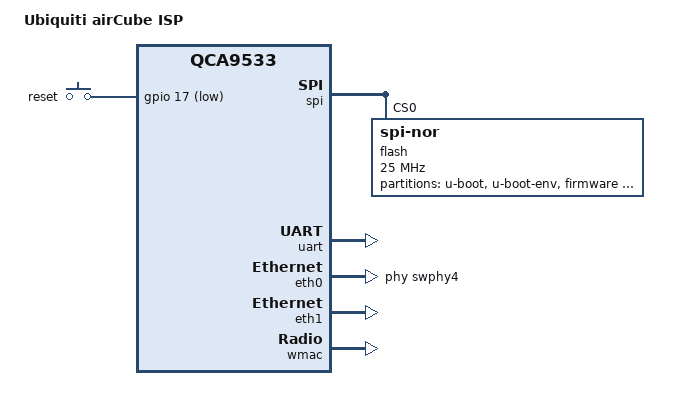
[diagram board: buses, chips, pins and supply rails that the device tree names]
// SPDX-License-Identifier: GPL-2.0-or-later OR MIT
/dts-v1/;

#include <dt-bindings/gpio/gpio.h>
#include <dt-bindings/input/input.h>

#include "qca953x.dtsi"

/ {
	compatible = "ubnt,acb-isp", "qca,qca9533";
	model = "Ubiquiti airCube ISP";

	keys {
		compatible = "gpio-keys";

		reset {
			label = "reset";
			linux,code = <KEY_RESTART>;
			gpios = <&gpio 17 GPIO_ACTIVE_LOW>;
			debounce-interval = <60>;
		};
	};
};

&spi {
	status = "okay";
	num-cs = <1>;

	flash@0 {
		compatible = "jedec,spi-nor";
		reg = <0>;
		spi-max-frequency = <25000000>;

		partitions {
			compatible = "fixed-partitions";
			#address-cells = <1>;
			#size-cells = <1>;

			partition@0 {
				label = "u-boot";
				reg = <0x000000 0x040000>;
				read-only;
			};

			partition@40000 {
				label = "u-boot-env";
				reg = <0x040000 0x010000>;
				read-only;
			};

			partition@50000 {
				compatible = "denx,uimage";
				label = "firmware";
				reg = <0x050000 0xf60000>;
			};

			partition@fb0000 {
				label = "cfg";
				reg = <0xfb0000 0x040000>;
				read-only;
			};

			eeprom: partition@ff0000 {
				label = "EEPROM";
				reg = <0xff0000 0x010000>;
				read-only;
			};
		};
	};
};

&uart {
	status = "okay";
};

&eth0 {
	status = "okay";
	mtd-mac-address = <&eeprom 0x0>;
	phy-handle = <&swphy4>;
};

&eth1 {
	status = "okay";
	mtd-mac-address = <&eeprom 0x6>;

	gmac-config {
		device = <&gmac>;
	};
};

&wmac {
	status = "okay";
	mtd-cal-data = <&eeprom 0x1000>;
	mtd-mac-address = <&eeprom 0x1002>;
};
